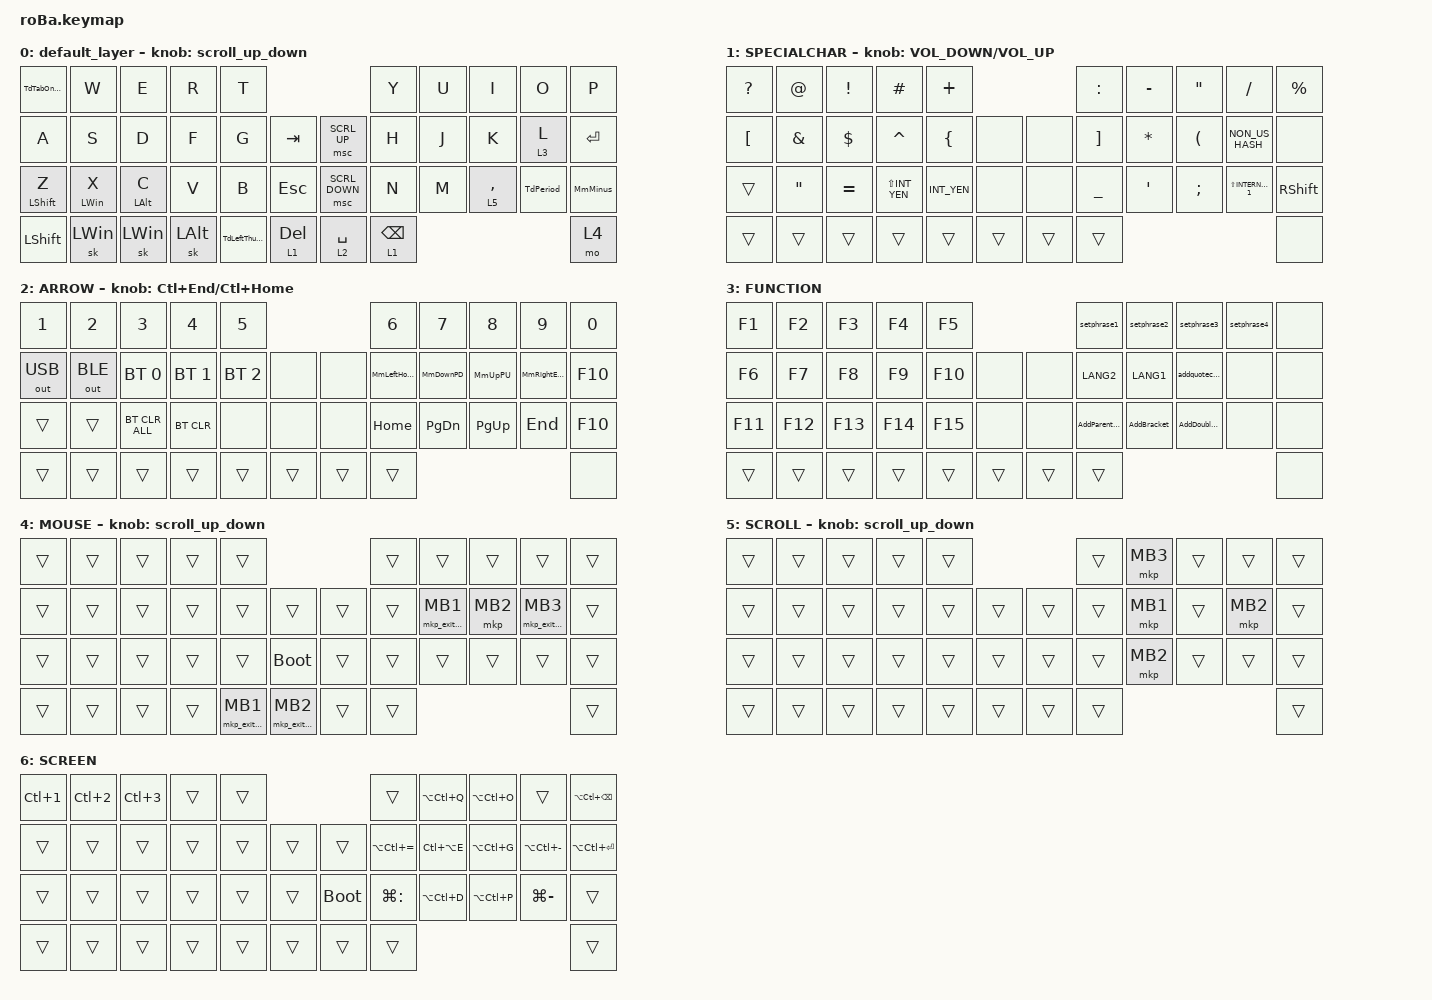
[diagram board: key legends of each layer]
#include <behaviors.dtsi>
#include <dt-bindings/zmk/bt.h>
#include <dt-bindings/zmk/keys.h>
#include <dt-bindings/zmk/outputs.h>
#include <dt-bindings/zmk/pointing.h>

#define ZMK_POINTING_DEFAULT_SCRL_VAL 80
#define MOUSE 4
#define SCROLL 5
#define NUM 6

&sl { release-after-ms = <250>; };

&lt { quick-tap-ms = <100>; };

&mt {
    quick-tap-ms = <100>;
    flavor = "tap-preferred";
}; // ダブルクリックに必要な時間を設定
/ {
    combos {
        compatible = "zmk,combos";

        tab {
            bindings = <&kp TAB>;
            key-positions = <0 1>;
        };

        BS {
            bindings = <&kp BACKSPACE>;
            key-positions = <18 19>;
        };

        underscore {
            bindings = <&kp LS(INT_RO)>;
            key-positions = <7 6>;
        };

        hyphen {
            bindings = <&kp MINUS>;
            key-positions = <7 8>;
        };

        redo {
            bindings = <&kp LC(Y)>;
            key-positions = <25 26>;
        };

        copy {
            bindings = <&kp LC(C)>;
            key-positions = <12 13>;
        };

        cut {
            bindings = <&kp LC(X)>;
            key-positions = <11 12>;
        };

        paste {
            bindings = <&kp LC(V)>;
            key-positions = <24 25>;
        };

        undo {
            bindings = <&kp LC(Z)>;
            key-positions = <13 14>;
        };

        delete {
            bindings = <&kp DEL>;
            key-positions = <8 9>;
        };

        mb1-left {
            bindings = <&mkp MB1>;
            key-positions = <23 24 25>;
        };

        mb2 {
            bindings = <&mkp MB2>;
            key-positions = <19 20>;
        };

        MoveToPE {
            bindings = <&kp LC(END)>;
            key-positions = <30 31 32>;
        };

        MoveToPT {
            bindings = <&kp LC(HOME)>;
            key-positions = <18 19 20>;
        };

        CloseTab {
            bindings = <&kp LG(W)>;
            key-positions = <30 31 32 33>;
        };

        RedoTab {
            bindings = <&kp LS(LG(T))>;
            key-positions = <18 19 20 21>;
        };

        mb3 {
            bindings = <&mkp MB3>;
            key-positions = <18 20>;
        };

        mb2-2 {
            bindings = <&mkp MB2>;
            key-positions = <32 31>;
        };

        mb1-2 {
            bindings = <&mkp MB1>;
            key-positions = <30 31>;
        };

        mb3-2 {
            bindings = <&mkp MB3>;
            key-positions = <30 32>;
        };

        mb2-left {
            bindings = <&mkp MB2>;
            key-positions = <11 12 13>;
        };
    };

    macros {
        mkp_exit_AML: mkp_exit_AML {
            compatible = "zmk,behavior-macro-one-param";
            #binding-cells = <1>;
            bindings =
                <&macro_press>,
                <&macro_param_1to1 &mkp MACRO_PLACEHOLDER>,
                <&macro_pause_for_release>,
                <&macro_release>,
                <&macro_param_1to1 &mkp MACRO_PLACEHOLDER>,
                <&macro_tap>,
                <&sl MOUSE>;

            label = "MKP_EXIT_AML";
        };

        setphrase1: setphrase1 {
            compatible = "zmk,behavior-macro";
            #binding-cells = <0>;
            bindings = <&kp LANGUAGE_2 &kp LS(S) &kp H &kp O &kp W &kp A &kp N3 &kp N7 &kp N1 &kp N2 &kp N0 &kp N5>;
            label = "SETPHRASE1";
        };

        setphrase2: setphrase2 {
            compatible = "zmk,behavior-macro";
            #binding-cells = <0>;
            bindings = <&kp LANGUAGE_2 &kp H &kp O &kp S &kp H &kp I &kp N &kp O &kp MINUS &kp T &kp A &kp K &kp E &kp S &kp H &kp I &kp LEFT_BRACKET &kp M &kp K &kp I &kp DOT &kp C &kp O &kp DOT &kp J &kp P>;
            label = "SETPHRASE2";
        };

        setphrase3: setphrase3 {
            compatible = "zmk,behavior-macro";
            #binding-cells = <0>;
            bindings = <&kp LANGUAGE_2 &kp H &kp O &kp S &kp H &kp I &kp N &kp O &kp LEFT_BRACKET &kp P &kp T &kp U &kp N &kp E &kp D &kp DOT &kp N &kp E &kp T>;
            label = "SETPHRASE3";
        };

        addquotechar: addquotechar {
            compatible = "zmk,behavior-macro";
            #binding-cells = <0>;
            bindings = <&kp HOME &kp LANGUAGE_2 &kp GT &kp HOME &kp DOWN>;
            label = "ADDQUOTECHAR";
        };

        SwitchToBt0: SwitchToBt0 {
            compatible = "zmk,behavior-macro";
            #binding-cells = <0>;
            bindings =
                <&out OUT_BLE>,
                <&macro_pause_for_release>,
                <&bt BT_SEL 0>;

            label = "SWITCHTOBT0";
            wait-ms = <1000>;
        };

        SwitchToBt1: SwitchToBt1 {
            compatible = "zmk,behavior-macro";
            #binding-cells = <0>;
            bindings =
                <&out OUT_BLE>,
                <&macro_pause_for_release>,
                <&bt BT_SEL 1>;

            label = "SWITCHTOBT1";
            wait-ms = <1000>;
        };

        AddParenthsis: MAddParenthsis {
            compatible = "zmk,behavior-macro";
            #binding-cells = <0>;
            bindings = <&kp LANGUAGE_2 &kp ASTERISK &kp LEFT_PARENTHESIS &kp LEFT &kp LANGUAGE_1>;
            label = "MADDPARENTHSIS";
        };

        AddBracket: AddBracket {
            compatible = "zmk,behavior-macro";
            #binding-cells = <0>;
            bindings = <&kp LANGUAGE_1 &kp RIGHT_BRACKET &kp NON_US_HASH &kp LEFT &kp LANGUAGE_1>;
            label = "ADDBRACKET";
        };

        AddDoublequote: AddDoublequote {
            compatible = "zmk,behavior-macro";
            #binding-cells = <0>;
            bindings = <&kp LANGUAGE_2 &kp AT &kp AT &kp LEFT &kp LANGUAGE_1>;
            label = "ADDDOUBLEQUOTE";
        };

        setphrase4: setphrase4 {
            compatible = "zmk,behavior-macro";
            #binding-cells = <0>;
            bindings = <&kp LANGUAGE_2 &kp LS(T) &kp LS(T) &kp LS(T) &kp LS(T) &kp T &kp N4 &kp N7 &kp N4 &kp N4 &kp N7 &kp N7 &kp N3 &kp N0 &kp N9>;
            label = "SETPHRASE4";
        };
    };

    keymap {
        compatible = "zmk,keymap";

        default_layer {
            bindings = <
&TdTabOnQKey      &kp W           &kp E           &kp R         &kp T                                            &kp Y            &kp U  &kp I        &kp O      &kp P
&kp A             &kp S           &kp D           &kp F         &kp G          &kp TAB           &msc SCRL_UP    &kp H            &kp J  &kp K        &lt 3 L    &kp RETURN
&mt LEFT_SHIFT Z  &mt LEFT_WIN X  &mt LEFT_ALT C  &kp V         &kp B          &kp ESCAPE        &msc SCRL_DOWN  &kp N            &kp M  &lt 5 COMMA  &TdPeriod  &MmMinus
&kp LEFT_SHIFT    &sk LEFT_WIN    &sk LEFT_WIN    &sk LEFT_ALT  &TdLeftThumb2  &lt 1 DELETE      &lt 2 SPACE     &lt 1 BACKSPACE                                 &mo 4
            >;

            sensor-bindings = <&scroll_up_down>;
        };

        SPECIALCHAR {
            bindings = <
&kp QUESTION      &kp AT             &kp EXCL    &kp HASH         &kp PLUS                            &kp COLON          &kp MINUS         &kp DOUBLE_QUOTES     &kp SLASH                &kp PERCENT
&kp LEFT_BRACKET  &kp AMPS           &kp DOLLAR  &kp CARET        &kp LEFT_BRACE  &none       &none   &kp RIGHT_BRACKET  &kp ASTRK         &kp LEFT_PARENTHESIS  &kp NON_US_HASH          &none
&trans            &kp DOUBLE_QUOTES  &kp EQUAL   &kp LS(INT_YEN)  &kp INT_YEN     &none       &none   &kp UNDER          &kp SINGLE_QUOTE  &kp SEMICOLON         &kp LS(INTERNATIONAL_1)  &kp RIGHT_SHIFT
&trans            &trans             &trans      &trans           &trans          &trans      &trans  &trans                                                                              &none
            >;

            sensor-bindings = <&inc_dec_kp C_VOLUME_DOWN C_VOLUME_UP>;
        };

        ARROW {
            bindings = <
&kp NUMBER_1  &kp NUMBER_2  &kp NUMBER_3    &kp NUMBER_4  &kp NUMBER_5                      &kp NUMBER_6  &kp NUMBER_7   &kp NUMBER_8  &kp NUMBER_9  &kp NUMBER_0
&out OUT_USB  &out OUT_BLE  &bt BT_SEL 0    &bt BT_SEL 1  &bt BT_SEL 2  &none       &none   &MmLeftHome   &MmDownPD      &MmUpPU       &MmRightEnd   &kp F10
&trans        &trans        &bt BT_CLR_ALL  &bt BT_CLR    &none         &none       &none   &kp HOME      &kp PAGE_DOWN  &kp PAGE_UP   &kp END       &kp F10
&trans        &trans        &trans          &trans        &trans        &trans      &trans  &trans                                                   &none
            >;

            sensor-bindings = <&inc_dec_kp LC(END) LC(HOME)>;
        };

        FUNCTION {
            bindings = <
&kp F1   &kp F2   &kp F3   &kp F4   &kp F5                       &setphrase1     &setphrase2  &setphrase3      &setphrase4  &none
&kp F6   &kp F7   &kp F8   &kp F9   &kp F10  &none       &none   &kp LANG2       &kp LANG1    &addquotechar    &none        &none
&kp F11  &kp F12  &kp F13  &kp F14  &kp F15  &none       &none   &AddParenthsis  &AddBracket  &AddDoublequote  &none        &none
&trans   &trans   &trans   &trans   &trans   &trans      &trans  &trans                                                     &none
            >;
        };

        MOUSE {
            bindings = <
&trans  &trans  &trans  &trans  &trans                                            &trans  &trans             &trans    &trans             &trans
&trans  &trans  &trans  &trans  &trans             &trans                 &trans  &trans  &mkp_exit_AML MB1  &mkp MB2  &mkp_exit_AML MB3  &trans
&trans  &trans  &trans  &trans  &trans             &bootloader            &trans  &trans  &trans             &trans    &trans             &trans
&trans  &trans  &trans  &trans  &mkp_exit_AML MB1  &mkp_exit_AML MB2      &trans  &trans                                                  &trans
            >;

            sensor-bindings = <&scroll_up_down>;
        };

        SCROLL {
            bindings = <
&trans  &trans  &trans  &trans  &trans                      &trans  &mkp MB3  &trans  &trans    &trans
&trans  &trans  &trans  &trans  &trans  &trans      &trans  &trans  &mkp MB1  &trans  &mkp MB2  &trans
&trans  &trans  &trans  &trans  &trans  &trans      &trans  &trans  &mkp MB2  &trans  &trans    &trans
&trans  &trans  &trans  &trans  &trans  &trans      &trans  &trans                              &trans
            >;

            sensor-bindings = <&scroll_up_down>;
        };

        SCREEN {
            bindings = <
&kp LC(NUMBER_1)  &kp LC(NUMBER_2)  &kp LC(NUMBER_3)  &trans  &trans                           &trans             &kp LA(LC(Q))  &kp LA(LC(O))  &trans             &kp LA(LC(BACKSPACE))
&trans            &trans            &trans            &trans  &trans  &trans      &trans       &kp LA(LC(EQUAL))  &kp LC(LA(E))  &kp LA(LC(G))  &kp LA(LC(MINUS))  &kp LA(LC(ENTER))
&trans            &trans            &trans            &trans  &trans  &trans      &bootloader  &kp LG(COLON)      &kp LA(LC(D))  &kp LA(LC(P))  &kp LG(MINUS)      &trans
&trans            &trans            &trans            &trans  &trans  &trans      &trans       &trans                                                              &trans
            >;
        };
    };

    behaviors {
        scroll_up_down: scroll_up_down {
            compatible = "zmk,behavior-sensor-rotate";
            #sensor-binding-cells = <0>;
            bindings = <&msc SCRL_DOWN>, <&msc SCRL_UP>;

            tap-ms = <20>;
        };

        TdLeftThumb2: TdLeftThumb2 {
            compatible = "zmk,behavior-tap-dance";
            label = "TDLEFTTHUMB2";
            #binding-cells = <0>;
            bindings = <&sk LEFT_CONTROL>, <&kp ESCAPE>;

            tapping-term-ms = <300>;
        };

        TdTabOnQKey: TdTabOnQKey {
            compatible = "zmk,behavior-tap-dance";
            label = "TDTABONQKEY";
            #binding-cells = <0>;
            bindings = <&kp Q>, <&kp TAB>;

            tapping-term-ms = <300>;
        };

        MmLang1Lang2: MmLang1Lang2 {
            compatible = "zmk,behavior-mod-morph";
            label = "MMLANG1LANG2";
            bindings = <&kp LANGUAGE_1>, <&kp LANGUAGE_2>;

            #binding-cells = <0>;
            mods = <(MOD_LSFT)>;
        };

        MmLeftHome: MmLeftHome {
            compatible = "zmk,behavior-mod-morph";
            label = "MMLEFTHOME";
            bindings = <&kp LEFT>, <&kp HOME>;

            #binding-cells = <0>;
            mods = <(MOD_LCTL)>;
        };

        MmDownPD: MmDownPD {
            compatible = "zmk,behavior-mod-morph";
            label = "MMDOWNPD";
            bindings = <&kp DOWN>, <&kp PAGE_DOWN>;

            #binding-cells = <0>;
            mods = <(MOD_LCTL)>;
        };

        MmUpPU: MmUpPU {
            compatible = "zmk,behavior-mod-morph";
            label = "MMUPPU";
            bindings = <&kp UP_ARROW>, <&kp PAGE_UP>;

            #binding-cells = <0>;
            mods = <(MOD_LCTL)>;
        };

        MmRightEnd: MmRightEnd {
            compatible = "zmk,behavior-mod-morph";
            label = "MMRIGHTEND";
            bindings = <&kp RIGHT>, <&kp END>;

            #binding-cells = <0>;
            mods = <(MOD_LCTL)>;
        };

        TdComma: TdComma {
            compatible = "zmk,behavior-tap-dance";
            label = "TDCOMMA";
            #binding-cells = <0>;
            bindings = <&lt 5 COMMA>, <&kp SEMI>;

            tapping-term-ms = <300>;
        };

        TdPeriod: TdPeriod {
            compatible = "zmk,behavior-tap-dance";
            label = "TDPERIOD";
            #binding-cells = <0>;
            bindings = <&kp PERIOD>, <&kp SLASH>;

            tapping-term-ms = <300>;
        };

        MmMinus: MmMinus {
            compatible = "zmk,behavior-mod-morph";
            label = "MMMINUS";
            bindings = <&mt LEFT_SHIFT MINUS>, <&kp LS(INTERNATIONAL_1)>;

            #binding-cells = <0>;
            mods = <(MOD_LSFT)>;
        };
    };
};
